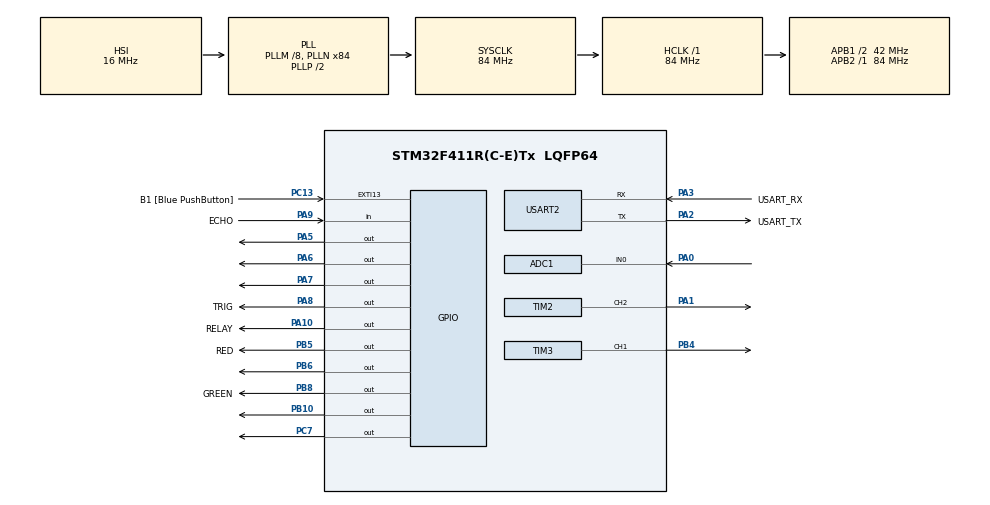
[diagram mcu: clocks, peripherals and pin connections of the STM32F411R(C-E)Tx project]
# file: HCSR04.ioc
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ADC1.Channel-0\#ChannelRegularConversion=ADC_CHANNEL_0
ADC1.ContinuousConvMode=ENABLE
ADC1.NbrOfConversionFlag=1
ADC1.Rank-0\#ChannelRegularConversion=1
ADC1.SamplingTime-0\#ChannelRegularConversion=ADC_SAMPLETIME_3CYCLES
ADC1.ScanConvMode=ENABLE
ADC1.master=1
Mcu.Family=STM32F4
Mcu.Name=STM32F411R(C-E)Tx
Mcu.Package=LQFP64
NVIC.PriorityGroup=NVIC_PRIORITYGROUP_0
NVIC.TIM2_IRQn=true\:0\:0\:false\:false\:true\:true\:true
PA0-WKUP.Signal=ADCx_IN0
PA1.Signal=S_TIM2_CH2
PA10.GPIO_Label=RELAY
PA10.Signal=GPIO_Output
PA13.GPIO_Label=TMS
PA13.Mode=Serial_Wire
PA13.Signal=SYS_JTMS-SWDIO
PA14.GPIO_Label=TCK
PA14.Mode=Serial_Wire
PA14.Signal=SYS_JTCK-SWCLK
PA2.GPIO_Label=USART_TX
PA2.Mode=Asynchronous
PA2.Signal=USART2_TX
PA3.GPIO_Label=USART_RX
PA3.Mode=Asynchronous
PA3.Signal=USART2_RX
PA5.Signal=GPIO_Output
PA6.Signal=GPIO_Output
PA7.Signal=GPIO_Output
PA8.GPIO_Label=TRIG
PA8.Signal=GPIO_Output
PA9.GPIO_Label=ECHO
PA9.Signal=GPIO_Input
PB10.Signal=GPIO_Output
PB3.GPIO_Label=SWO
PB3.Signal=SYS_JTDO-SWO
PB4.Signal=S_TIM3_CH1
PB5.GPIO_Label=RED
PB5.Signal=GPIO_Output
PB6.Signal=GPIO_Output
PB8.GPIO_Label=GREEN
PB8.Signal=GPIO_Output
PC13-ANTI_TAMP.GPIO_Label=B1 [Blue PushButton]
PC13-ANTI_TAMP.GPIO_ModeDefaultEXTI=GPIO_MODE_IT_FALLING
PC13-ANTI_TAMP.Signal=GPXTI13
PC14-OSC32_IN.Mode=LSE-External-Oscillator
PC14-OSC32_IN.Signal=RCC_OSC32_IN
PC15-OSC32_OUT.Mode=LSE-External-Oscillator
PC15-OSC32_OUT.Signal=RCC_OSC32_OUT
PC7.Signal=GPIO_Output
PH0\ -\ OSC_IN.Mode=HSE-External-Clock-Source
PH0\ -\ OSC_IN.Signal=RCC_OSC_IN
PH1\ -\ OSC_OUT.Mode=HSE-External-Clock-Source
PH1\ -\ OSC_OUT.Signal=RCC_OSC_OUT
ProjectManager.HeapSize=0x200
ProjectManager.StackSize=0x400
ProjectManager.TargetToolchain=STM32CubeIDE
RCC.48MHZClocksFreq_Value=42000000
RCC.AHBFreq_Value=84000000
RCC.APB1CLKDivider=RCC_HCLK_DIV2
RCC.APB1Freq_Value=42000000
RCC.APB1TimFreq_Value=84000000
RCC.APB2Freq_Value=84000000
RCC.APB2TimFreq_Value=84000000
RCC.CortexFreq_Value=84000000
RCC.FLatency-AdvancedSettings=FLASH_LATENCY_2
RCC.HCLKFreq_Value=84000000
RCC.HSE_VALUE=8000000
RCC.HSI_VALUE=16000000
RCC.PLLM=8
RCC.PLLN=84
RCC.SYSCLKFreq_VALUE=84000000
RCC.SYSCLKSource=RCC_SYSCLKSOURCE_PLLCLK
RCC.VCOOutputFreq_Value=168000000
SH.ADCx_IN0.0=ADC1_IN0,IN0
SH.S_TIM2_CH2.0=TIM2_CH2,PWM Generation2 CH2
SH.S_TIM3_CH1.0=TIM3_CH1,PWM Generation1 CH1
TIM2.AutoReloadPreload=TIM_AUTORELOAD_PRELOAD_ENABLE
TIM2.Channel-PWM\ Generation2\ CH2=TIM_CHANNEL_2
TIM2.Period=19999
TIM2.Prescaler=84
TIM3.Channel-PWM\ Generation1\ CH1=TIM_CHANNEL_1
TIM3.Period=8191
TIM4.Period=65535
USART2.VirtualMode=VM_ASYNC
VP_TIM2_VS_ClockSourceINT.Mode=Internal
VP_TIM3_VS_ClockSourceINT.Mode=Internal
VP_TIM4_VS_ClockSourceINT.Mode=Internal
board=NUCLEO-F411RE

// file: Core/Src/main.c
/* USER CODE BEGIN Header */
/**
 ******************************************************************************
 * @file           : main.c
 * @brief          : Main program body
 ******************************************************************************
 * @attention
 *
 * <h2><center>&copy; Copyright (c) 2019 STMicroelectronics.
 * All rights reserved.</center></h2>
 *
 * This software component is licensed by ST under BSD 3-Clause license,
 * the "License"; You may not use this file except in compliance with the
 * License. You may obtain a copy of the License at:
 *                        opensource.org/licenses/BSD-3-Clause
 *
 ******************************************************************************
 */
/* USER CODE END Header */
#include "main.h"

/* USER CODE BEGIN Includes */
#include <string.h>
#include <stdio.h>
/* USER CODE END Includes */

/* USER CODE BEGIN PTD */
#define usTIM	TIM4
/* USER CODE END PTD */

ADC_HandleTypeDef hadc1;

TIM_HandleTypeDef htim2;
TIM_HandleTypeDef htim3;
TIM_HandleTypeDef htim4;

UART_HandleTypeDef huart2;

void SystemClock_Config(void);
static void MX_GPIO_Init(void);
static void MX_USART2_UART_Init(void);
static void MX_TIM4_Init(void);
static void MX_TIM3_Init(void);
static void MX_ADC1_Init(void);
static void MX_TIM2_Init(void);
/* USER CODE BEGIN PFP */
void usDelay(uint32_t uSec);
/* USER CODE END PFP */

/* USER CODE BEGIN 0 */

uint32_t local_time, sensor_time;
uint32_t distance;

uint32_t hcsr04_read(void) {
	local_time = 0;
	HAL_GPIO_WritePin(TRIG_GPIO_Port, TRIG_Pin, GPIO_PIN_RESET); // pull the TRIG pin HIGH
	usDelay(2);  // wait for 2 us

	HAL_GPIO_WritePin(TRIG_GPIO_Port, TRIG_Pin, GPIO_PIN_SET); // pull the TRIG pin HIGH
	usDelay(10);  // wait for 10 us
	HAL_GPIO_WritePin(TRIG_GPIO_Port, TRIG_Pin, GPIO_PIN_RESET); // pull the TRIG pin low

	// read the time for which the pin is high

	while (!HAL_GPIO_ReadPin(ECHO_GPIO_Port, ECHO_Pin))
		;  // wait for the ECHO pin to go high
	while (HAL_GPIO_ReadPin(ECHO_GPIO_Port, ECHO_Pin))  // while the pin is high
	{
		local_time++;   // measure time for which the pin is high
		usDelay(1);
	}
	return local_time;
}

char uartBuf[100];

/* USER CODE END 0 */

int main(void) {
	/* USER CODE BEGIN 1 */
	float distance;
	/* USER CODE END 1 */

	/* MCU Configuration--------------------------------------------------------*/

	/* Reset of all peripherals, Initializes the Flash interface and the Systick. */
	HAL_Init();

	/* Configure the system clock */
	SystemClock_Config();

	/* Initialize all configured peripherals */
	MX_GPIO_Init();
	MX_USART2_UART_Init();
	MX_TIM4_Init();
	MX_TIM3_Init();
	MX_ADC1_Init();
	MX_TIM2_Init();
	/* USER CODE BEGIN 2 */
	HAL_TIM_PWM_Start(&htim3, TIM_CHANNEL_1);
	HAL_TIM_PWM_Start(&htim2, TIM_CHANNEL_2);
	/* USER CODE END 2 */

	/* Infinite loop */
	while (1) {

		/* USER CODE BEGIN 3 */

		HAL_ADC_Start(&hadc1);
		char buf[256];
		int ret = HAL_ADC_GetValue(&hadc1);
		sprintf(buf, "%d\n", ret);
		HAL_UART_Transmit(&huart2, buf, strlen(buf), 1000);
		HAL_Delay(1000);

		sensor_time = hcsr04_read();
		distance = sensor_time * .0343 / 2;
		sprintf(uartBuf, "Distance (cm)  = %.1f\r\n", distance);
		HAL_UART_Transmit(&huart2, (uint8_t*) uartBuf, strlen(uartBuf), 100);

		if (ret >= 50) {
			HAL_GPIO_WritePin(RED_GPIO_Port, RED_Pin, GPIO_PIN_RESET);

			if (distance <= 7) {
				//change to relay spray out liquid
				HAL_GPIO_WritePin(RELAY_GPIO_Port, RELAY_Pin, GPIO_PIN_SET);
				HAL_Delay(500);
				HAL_GPIO_WritePin(RELAY_GPIO_Port, RELAY_Pin, GPIO_PIN_RESET);
				HAL_Delay(500);

				TIM2->CCR2 = 1200;
				HAL_Delay(225);
				TIM2->CCR2 = 1500;
				HAL_Delay(2000);
				TIM2->CCR2 = 1725;
				HAL_Delay(220);
				TIM2->CCR2 = 1500;
				HAL_Delay(2000);
			}

		} else {
			HAL_GPIO_WritePin(RED_GPIO_Port, RED_Pin, GPIO_PIN_SET);
		}

		HAL_Delay(100);

	}
	/* USER CODE END 3 */
}

void SystemClock_Config(void) {
	RCC_OscInitTypeDef RCC_OscInitStruct = { 0 };
	RCC_ClkInitTypeDef RCC_ClkInitStruct = { 0 };

	/** Configure the main internal regulator output voltage
	 */
	__HAL_RCC_PWR_CLK_ENABLE();
	__HAL_PWR_VOLTAGESCALING_CONFIG(PWR_REGULATOR_VOLTAGE_SCALE1);
	/** Initializes the RCC Oscillators according to the specified parameters
	 * in the RCC_OscInitTypeDef structure.
	 */
	RCC_OscInitStruct.OscillatorType = RCC_OSCILLATORTYPE_HSI;
	RCC_OscInitStruct.HSIState = RCC_HSI_ON;
	RCC_OscInitStruct.HSICalibrationValue = RCC_HSICALIBRATION_DEFAULT;
	RCC_OscInitStruct.PLL.PLLState = RCC_PLL_ON;
	RCC_OscInitStruct.PLL.PLLSource = RCC_PLLSOURCE_HSI;
	RCC_OscInitStruct.PLL.PLLM = 8;
	RCC_OscInitStruct.PLL.PLLN = 84;
	RCC_OscInitStruct.PLL.PLLP = RCC_PLLP_DIV2;
	RCC_OscInitStruct.PLL.PLLQ = 4;
	if (HAL_RCC_OscConfig(&RCC_OscInitStruct) != HAL_OK) {
		Error_Handler();
	}
	/** Initializes the CPU, AHB and APB buses clocks
	 */
	RCC_ClkInitStruct.ClockType = RCC_CLOCKTYPE_HCLK | RCC_CLOCKTYPE_SYSCLK
			| RCC_CLOCKTYPE_PCLK1 | RCC_CLOCKTYPE_PCLK2;
	RCC_ClkInitStruct.SYSCLKSource = RCC_SYSCLKSOURCE_PLLCLK;
	RCC_ClkInitStruct.AHBCLKDivider = RCC_SYSCLK_DIV1;
	RCC_ClkInitStruct.APB1CLKDivider = RCC_HCLK_DIV2;
	RCC_ClkInitStruct.APB2CLKDivider = RCC_HCLK_DIV1;

	if (HAL_RCC_ClockConfig(&RCC_ClkInitStruct, FLASH_LATENCY_2) != HAL_OK) {
		Error_Handler();
	}
}

static void MX_ADC1_Init(void) {

	ADC_ChannelConfTypeDef sConfig = { 0 };

	/** Configure the global features of the ADC (Clock, Resolution, Data Alignment and number of conversion)
	 */
	hadc1.Instance = ADC1;
	hadc1.Init.ClockPrescaler = ADC_CLOCK_SYNC_PCLK_DIV4;
	hadc1.Init.Resolution = ADC_RESOLUTION_12B;
	hadc1.Init.ScanConvMode = ENABLE;
	hadc1.Init.ContinuousConvMode = ENABLE;
	hadc1.Init.DiscontinuousConvMode = DISABLE;
	hadc1.Init.ExternalTrigConvEdge = ADC_EXTERNALTRIGCONVEDGE_NONE;
	hadc1.Init.ExternalTrigConv = ADC_SOFTWARE_START;
	hadc1.Init.DataAlign = ADC_DATAALIGN_RIGHT;
	hadc1.Init.NbrOfConversion = 1;
	hadc1.Init.DMAContinuousRequests = DISABLE;
	hadc1.Init.EOCSelection = ADC_EOC_SINGLE_CONV;
	if (HAL_ADC_Init(&hadc1) != HAL_OK) {
		Error_Handler();
	}
	/** Configure for the selected ADC regular channel its corresponding rank in the sequencer and its sample time.
	 */
	sConfig.Channel = ADC_CHANNEL_0;
	sConfig.Rank = 1;
	sConfig.SamplingTime = ADC_SAMPLETIME_3CYCLES;
	if (HAL_ADC_ConfigChannel(&hadc1, &sConfig) != HAL_OK) {
		Error_Handler();
	}

}

static void MX_TIM2_Init(void) {

	TIM_ClockConfigTypeDef sClockSourceConfig = { 0 };
	TIM_MasterConfigTypeDef sMasterConfig = { 0 };
	TIM_OC_InitTypeDef sConfigOC = { 0 };

	htim2.Instance = TIM2;
	htim2.Init.Prescaler = 84;
	htim2.Init.CounterMode = TIM_COUNTERMODE_UP;
	htim2.Init.Period = 19999;
	htim2.Init.ClockDivision = TIM_CLOCKDIVISION_DIV1;
	htim2.Init.AutoReloadPreload = TIM_AUTORELOAD_PRELOAD_ENABLE;
	if (HAL_TIM_Base_Init(&htim2) != HAL_OK) {
		Error_Handler();
	}
	sClockSourceConfig.ClockSource = TIM_CLOCKSOURCE_INTERNAL;
	if (HAL_TIM_ConfigClockSource(&htim2, &sClockSourceConfig) != HAL_OK) {
		Error_Handler();
	}
	if (HAL_TIM_PWM_Init(&htim2) != HAL_OK) {
		Error_Handler();
	}
	sMasterConfig.MasterOutputTrigger = TIM_TRGO_RESET;
	sMasterConfig.MasterSlaveMode = TIM_MASTERSLAVEMODE_DISABLE;
	if (HAL_TIMEx_MasterConfigSynchronization(&htim2, &sMasterConfig)
			!= HAL_OK) {
		Error_Handler();
	}
	sConfigOC.OCMode = TIM_OCMODE_PWM1;
	sConfigOC.Pulse = 0;
	sConfigOC.OCPolarity = TIM_OCPOLARITY_HIGH;
	sConfigOC.OCFastMode = TIM_OCFAST_DISABLE;
	if (HAL_TIM_PWM_ConfigChannel(&htim2, &sConfigOC, TIM_CHANNEL_2)
			!= HAL_OK) {
		Error_Handler();
	}
	HAL_TIM_MspPostInit(&htim2);

}

static void MX_TIM3_Init(void) {

	TIM_ClockConfigTypeDef sClockSourceConfig = { 0 };
	TIM_MasterConfigTypeDef sMasterConfig = { 0 };
	TIM_OC_InitTypeDef sConfigOC = { 0 };

	htim3.Instance = TIM3;
	htim3.Init.Prescaler = 0;
	htim3.Init.CounterMode = TIM_COUNTERMODE_UP;
	htim3.Init.Period = 8191;
	htim3.Init.ClockDivision = TIM_CLOCKDIVISION_DIV1;
	htim3.Init.AutoReloadPreload = TIM_AUTORELOAD_PRELOAD_DISABLE;
	if (HAL_TIM_Base_Init(&htim3) != HAL_OK) {
		Error_Handler();
	}
	sClockSourceConfig.ClockSource = TIM_CLOCKSOURCE_INTERNAL;
	if (HAL_TIM_ConfigClockSource(&htim3, &sClockSourceConfig) != HAL_OK) {
		Error_Handler();
	}
	if (HAL_TIM_PWM_Init(&htim3) != HAL_OK) {
		Error_Handler();
	}
	sMasterConfig.MasterOutputTrigger = TIM_TRGO_RESET;
	sMasterConfig.MasterSlaveMode = TIM_MASTERSLAVEMODE_DISABLE;
	if (HAL_TIMEx_MasterConfigSynchronization(&htim3, &sMasterConfig)
			!= HAL_OK) {
		Error_Handler();
	}
	sConfigOC.OCMode = TIM_OCMODE_PWM1;
	sConfigOC.Pulse = 0;
	sConfigOC.OCPolarity = TIM_OCPOLARITY_HIGH;
	sConfigOC.OCFastMode = TIM_OCFAST_DISABLE;
	if (HAL_TIM_PWM_ConfigChannel(&htim3, &sConfigOC, TIM_CHANNEL_1)
			!= HAL_OK) {
		Error_Handler();
	}
	HAL_TIM_MspPostInit(&htim3);

}

static void MX_TIM4_Init(void) {

	TIM_ClockConfigTypeDef sClockSourceConfig = { 0 };
	TIM_MasterConfigTypeDef sMasterConfig = { 0 };

	htim4.Instance = TIM4;
	htim4.Init.Prescaler = 0;
	htim4.Init.CounterMode = TIM_COUNTERMODE_UP;
	htim4.Init.Period = 65535;
	htim4.Init.ClockDivision = TIM_CLOCKDIVISION_DIV1;
	htim4.Init.AutoReloadPreload = TIM_AUTORELOAD_PRELOAD_DISABLE;
	if (HAL_TIM_Base_Init(&htim4) != HAL_OK) {
		Error_Handler();
	}
	sClockSourceConfig.ClockSource = TIM_CLOCKSOURCE_INTERNAL;
	if (HAL_TIM_ConfigClockSource(&htim4, &sClockSourceConfig) != HAL_OK) {
		Error_Handler();
	}
	sMasterConfig.MasterOutputTrigger = TIM_TRGO_RESET;
	sMasterConfig.MasterSlaveMode = TIM_MASTERSLAVEMODE_DISABLE;
	if (HAL_TIMEx_MasterConfigSynchronization(&htim4, &sMasterConfig)
			!= HAL_OK) {
		Error_Handler();
	}

}

static void MX_USART2_UART_Init(void) {

	huart2.Instance = USART2;
	huart2.Init.BaudRate = 115200;
	huart2.Init.WordLength = UART_WORDLENGTH_8B;
	huart2.Init.StopBits = UART_STOPBITS_1;
	huart2.Init.Parity = UART_PARITY_NONE;
	huart2.Init.Mode = UART_MODE_TX_RX;
	huart2.Init.HwFlowCtl = UART_HWCONTROL_NONE;
	huart2.Init.OverSampling = UART_OVERSAMPLING_16;
	if (HAL_UART_Init(&huart2) != HAL_OK) {
		Error_Handler();
	}

}

static void MX_GPIO_Init(void) {
	GPIO_InitTypeDef GPIO_InitStruct = { 0 };

	/* GPIO Ports Clock Enable */
	__HAL_RCC_GPIOC_CLK_ENABLE();
	__HAL_RCC_GPIOH_CLK_ENABLE();
	__HAL_RCC_GPIOA_CLK_ENABLE();
	__HAL_RCC_GPIOB_CLK_ENABLE();

	/*Configure GPIO pin Output Level */
	HAL_GPIO_WritePin(GPIOA,
			GPIO_PIN_5 | GPIO_PIN_6 | GPIO_PIN_7 | TRIG_Pin | RELAY_Pin,
			GPIO_PIN_RESET);

	/*Configure GPIO pin Output Level */
	HAL_GPIO_WritePin(GPIOB, GPIO_PIN_10 | RED_Pin | GPIO_PIN_6 | GREEN_Pin,
			GPIO_PIN_RESET);

	/*Configure GPIO pin Output Level */
	HAL_GPIO_WritePin(GPIOC, GPIO_PIN_7, GPIO_PIN_RESET);

	/*Configure GPIO pin : B1_Pin */
	GPIO_InitStruct.Pin = B1_Pin;
	GPIO_InitStruct.Mode = GPIO_MODE_IT_FALLING;
	GPIO_InitStruct.Pull = GPIO_NOPULL;
	HAL_GPIO_Init(B1_GPIO_Port, &GPIO_InitStruct);

	/*Configure GPIO pins : PA5 PA6 PA7 TRIG_Pin
	 RELAY_Pin */
	GPIO_InitStruct.Pin = GPIO_PIN_5 | GPIO_PIN_6 | GPIO_PIN_7 | TRIG_Pin
			| RELAY_Pin;
	GPIO_InitStruct.Mode = GPIO_MODE_OUTPUT_PP;
	GPIO_InitStruct.Pull = GPIO_NOPULL;
	GPIO_InitStruct.Speed = GPIO_SPEED_FREQ_LOW;
	HAL_GPIO_Init(GPIOA, &GPIO_InitStruct);

	/*Configure GPIO pins : PB10 RED_Pin PB6 GREEN_Pin */
	GPIO_InitStruct.Pin = GPIO_PIN_10 | RED_Pin | GPIO_PIN_6 | GREEN_Pin;
	GPIO_InitStruct.Mode = GPIO_MODE_OUTPUT_PP;
	GPIO_InitStruct.Pull = GPIO_NOPULL;
	GPIO_InitStruct.Speed = GPIO_SPEED_FREQ_LOW;
	HAL_GPIO_Init(GPIOB, &GPIO_InitStruct);

	/*Configure GPIO pin : PC7 */
	GPIO_InitStruct.Pin = GPIO_PIN_7;
	GPIO_InitStruct.Mode = GPIO_MODE_OUTPUT_PP;
	GPIO_InitStruct.Pull = GPIO_NOPULL;
	GPIO_InitStruct.Speed = GPIO_SPEED_FREQ_LOW;
	HAL_GPIO_Init(GPIOC, &GPIO_InitStruct);

	/*Configure GPIO pin : ECHO_Pin */
	GPIO_InitStruct.Pin = ECHO_Pin;
	GPIO_InitStruct.Mode = GPIO_MODE_INPUT;
	GPIO_InitStruct.Pull = GPIO_NOPULL;
	HAL_GPIO_Init(ECHO_GPIO_Port, &GPIO_InitStruct);

}

/* USER CODE BEGIN 4 */
void usDelay(uint32_t uSec) {
	if (uSec < 2)
		uSec = 2;
	usTIM->ARR = uSec - 1; /*sets the value in the auto-reload register*/
	usTIM->EGR = 1; /*Re-initialises the timer*/
	usTIM->SR &= ~1; 		//Resets the flag
	usTIM->CR1 |= 1; 		//Enables the counter
	while ((usTIM->SR & 0x0001) != 1)
		;
	usTIM->SR &= ~(0x0001);
}
/* USER CODE END 4 */

void Error_Handler(void) {
}

/************************ (C) COPYRIGHT STMicroelectronics *****END OF FILE****/
